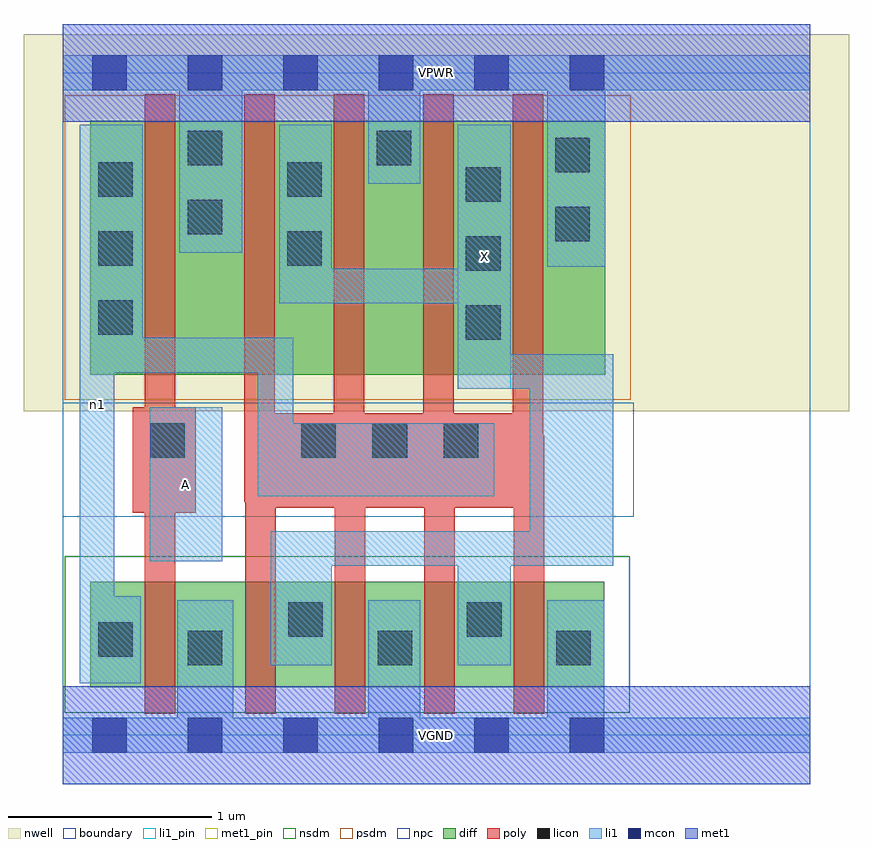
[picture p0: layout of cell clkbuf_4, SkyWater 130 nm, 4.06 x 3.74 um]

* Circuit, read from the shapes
.subckt clkbuf_4 A VGND VPWR X n1
XM1 VGND A n1 VSUBS sky130_fd_pr__nfet_01v8 w=0.52 l=0.15
XM2 X n1 VGND VSUBS sky130_fd_pr__nfet_01v8 w=0.52 l=0.15 m=4
XM3 VPWR A n1 n2 sky130_fd_pr__pfet_01v8 w=1.25 l=0.15
XM4 X n1 VPWR n2 sky130_fd_pr__pfet_01v8 w=1.25 l=0.15 m=4
.ends

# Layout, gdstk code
import gdstk
lib = gdstk.Library(unit=1e-6, precision=1e-09)
def R(c, l, rs):  # rectangles x0, y0, x1, y1
    for r in rs: c.add(gdstk.rectangle(r[:2], r[2:], *l))
def A(c, l, x, y, w, h, nx, ny, dx, dy):  # array of equal rectangles
    R(c, l, [(x+i*dx, y+j*dy, x+i*dx+w, y+j*dy+h) for i in range(nx) for j in range(ny)])
nwell = (64, 20)
diff = (65, 20)
poly = (66, 20)
licon = (66, 44)
li1_pin = (67, 16)
li1 = (67, 20)
mcon = (67, 44)
met1_pin = (68, 16)
met1 = (68, 20)
nsdm = (93, 44)
psdm = (94, 20)
npc = (95, 20)
boundary = (235, 4)

clkbuf_4 = lib.new_cell('clkbuf_4')
R(clkbuf_4, nwell, [(-0.19,1.595,3.87,3.45), (0,1.595,3.68,3.45)])
R(clkbuf_4, diff, [(0.135,0.235,2.665,0.755), (0.135,1.775,2.67,3.025)])
A(clkbuf_4, poly, 0.9, 0.105, 0.15, 1.48, 3, 1, 0.44, 0)
A(clkbuf_4, poly, 1.335, 1.12, 0.15, 2.035, 3, 1, 0.44, 0)
R(clkbuf_4, poly, [(0.405,0.105,0.555,3.155), (2.22,0.105,2.37,1.475), (0.345,1.095,0.655,1.615), (0.9,1.12,2.365,1.585), (0.895,1.15,1.045,3.155)])
A(clkbuf_4, licon, 1.175, 1.365, 0.17, 0.17, 3, 1, 0.35, 0)
A(clkbuf_4, licon, 1.985, 1.945, 0.17, 0.17, 1, 3, 0, 0.34)
A(clkbuf_4, licon, 0.175, 1.97, 0.17, 0.17, 1, 3, 0, 0.34)
R(clkbuf_4, licon, [(0.615,0.345,0.785,0.515), (1.55,0.345,1.72,0.515), (2.43,0.345,2.6,0.515), (0.175,0.385,0.345,0.555), (1.11,0.485,1.28,0.655), (1.99,0.485,2.16,0.655), (0.43,1.365,0.6,1.535), (1.105,2.31,1.275,2.48), (2.425,2.43,2.595,2.6), (0.615,2.465,0.785,2.635), (1.105,2.65,1.275,2.82), (2.425,2.77,2.595,2.94), (0.615,2.805,0.785,2.975), (1.545,2.805,1.715,2.975)])
R(clkbuf_4, li1_pin, [(0.43,0.855,0.785,1.615), (1.945,1.705,2.205,3.005)])
R(clkbuf_4, li1, [(0,-0.085,3.68,0.085), (0.565,-0.085,0.84,0.665), (1.505,-0.085,1.76,0.665), (2.385,-0.085,2.665,0.665), (0.085,0.255,0.255,3.005), (0.085,0.255,0.385,0.685), (1.025,0.345,1.325,1.005), (1.945,0.345,2.205,1.005), (1.025,0.835,2.71,1.005), (2.3,0.835,2.71,1.875), (0.43,0.855,0.785,1.615), (0.96,1.175,2.125,1.535), (0.96,1.175,1.135,1.955), (1.945,1.705,2.205,3.005), (1.945,1.705,2.71,1.875), (0.085,1.785,1.135,1.955), (0.085,1.785,0.395,3.005), (1.065,2.125,1.325,3.005), (1.065,2.125,2.205,2.295), (2.385,2.305,2.67,3.345), (0.575,2.375,0.885,3.345), (1.505,2.715,1.76,3.345), (0,3.175,3.68,3.345)])
A(clkbuf_4, mcon, 0.145, -0.085, 0.17, 0.17, 6, 2, 0.47, 3.26)
R(clkbuf_4, met1_pin, [(0,-0.24,3.68,0.24), (0,3.02,3.68,3.5)])
R(clkbuf_4, met1, [(0,-0.24,3.68,0.24), (0,3.02,3.68,3.5)])
R(clkbuf_4, nsdm, [(0.01,0.11,2.79,0.88)])
R(clkbuf_4, psdm, [(0.01,1.65,2.795,3.15)])
R(clkbuf_4, npc, [(0,1.075,2.81,1.635)])
R(clkbuf_4, boundary, [(0,0,3.68,3.26)])
clkbuf_4.add(gdstk.Label('A', (0.607,1.235), layer=67, texttype=5))
clkbuf_4.add(gdstk.Label('X', (2.075,2.355), layer=67, texttype=5))
clkbuf_4.add(gdstk.Label('n1', (0.17,1.63), layer=67, texttype=5))
clkbuf_4.add(gdstk.Label('VPWR', (1.84,3.26), layer=68, texttype=5))
clkbuf_4.add(gdstk.Label('VGND', (1.84,0), layer=68, texttype=5))
clkbuf_4.add(gdstk.Label('A', (0.607,1.235), layer=67, texttype=16))
clkbuf_4.add(gdstk.Label('X', (2.075,2.355), layer=67, texttype=16))
clkbuf_4.add(gdstk.Label('VPWR', (1.84,3.26), layer=68, texttype=16))
clkbuf_4.add(gdstk.Label('VGND', (1.84,0), layer=68, texttype=16))

lib.write_gds('clkbuf_4.gds')
